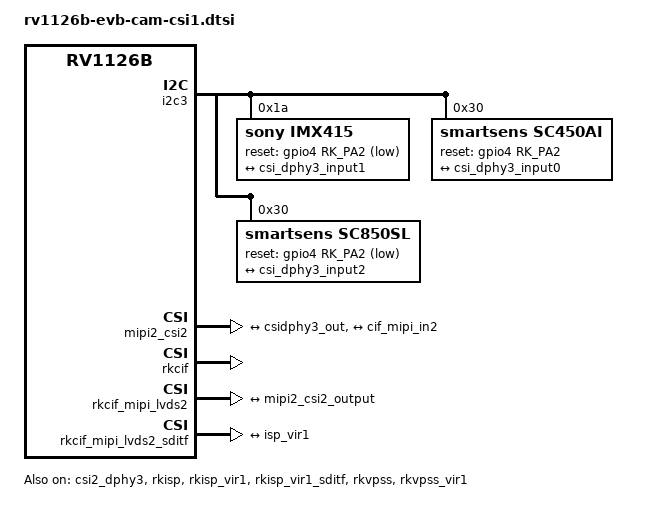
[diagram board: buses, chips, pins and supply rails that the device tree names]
// SPDX-License-Identifier: (GPL-2.0+ OR MIT)
/*
 * Copyright (c) 2025 Rockchip Electronics Co., Ltd.
 *
 */

/*
 * csi2_dphy0 -> csi0(rx0) clk0 + 4 lane
 * csi2_dphy1 -> csi0(rx0) clk0 + 2 lane 0/1
 * csi2_dphy2 -> csi0(rx0) clk1 + 2 lane 2/3
 * csi2_dphy3 -> csi1(rx1) clk0 + 4 lane
 * csi2_dphy4 -> csi1(rx1) clk0 + 2 lane 0/1
 * csi2_dphy5 -> csi1(rx1) clk1 + 2 lane 2/3
 */

&csi2_dphy3 {
	status = "okay";

	ports {
		#address-cells = <1>;
		#size-cells = <0>;
		port@0 {
			reg = <0>;
			#address-cells = <1>;
			#size-cells = <0>;

			csi_dphy3_input0: endpoint@1 {
				reg = <1>;
				remote-endpoint = <&sc450ai_out>;
				data-lanes = <1 2>;
			};

			csi_dphy3_input1: endpoint@2 {
				reg = <2>;
				remote-endpoint = <&imx415_out>;
				data-lanes = <1 2 3 4>;
			};

			csi_dphy3_input2: endpoint@3 {
				reg = <3>;
				remote-endpoint = <&sc850sl_out>;
				data-lanes = <1 2 3 4>;
			};

		};
		port@1 {
			reg = <1>;
			#address-cells = <1>;
			#size-cells = <0>;

			csidphy3_out: endpoint@0 {
				reg = <0>;
				remote-endpoint = <&mipi2_csi2_input>;
			};
		};
	};
};

&i2c3 {
	status = "okay";
	pinctrl-0 = <&i2c3m1_pins>;

	imx415: imx415@1a {
		compatible = "sony,imx415";
		reg = <0x1a>;
		clocks = <&cru CLK_MIPI2_OUT2IO>;
		clock-names = "xvclk";
		reset-gpios = <&gpio4 RK_PA2 GPIO_ACTIVE_LOW>;
		pinctrl-names = "default";
		pinctrl-0 = <&cam_clk2_pins>;
		rockchip,camera-module-index = <0>;
		rockchip,camera-module-facing = "back";
		rockchip,camera-module-name = "CMK-OT2022-PX1";
		rockchip,camera-module-lens-name = "IR0147-50IRC-8M-F20";
		port {
			imx415_out: endpoint {
				remote-endpoint = <&csi_dphy3_input1>;
				data-lanes = <1 2 3 4>;
			};
		};
	};

	sc450ai: sc450ai@30 {
		compatible = "smartsens,sc450ai";
		status = "okay";
		reg = <0x30>;
		clocks = <&cru CLK_MIPI2_OUT2IO>;
		clock-names = "xvclk";
		/* pwdn need connect to reset */
		reset-gpios = <&gpio4 RK_PA2 GPIO_ACTIVE_HIGH>;
		pinctrl-names = "default";
		pinctrl-0 = <&cam_clk2_pins>;
		rockchip,camera-module-index = <0>;
		rockchip,camera-module-facing = "back";
		rockchip,camera-module-name = "default";
		rockchip,camera-module-lens-name = "default";
		port {
			sc450ai_out: endpoint {
				remote-endpoint = <&csi_dphy3_input0>;
				data-lanes = <1 2>;
			};
		};
	};

	sc850sl: sc850sl@30 {
		compatible = "smartsens,sc850sl";
		status = "okay";
		reg = <0x30>;
		clocks = <&cru CLK_MIPI2_OUT2IO>;
		clock-names = "xvclk";
		/* pwdn need connect to reset */
		reset-gpios = <&gpio4 RK_PA2 GPIO_ACTIVE_LOW>;
		pinctrl-names = "default";
		pinctrl-0 = <&cam_clk2_pins>;
		rockchip,camera-module-index = <0>;
		rockchip,camera-module-facing = "back";
		rockchip,camera-module-name = "default";
		rockchip,camera-module-lens-name = "default";
		port {
			sc850sl_out: endpoint {
				remote-endpoint = <&csi_dphy3_input2>;
				data-lanes = <1 2 3 4>;
			};
		};
	};
};

&mipi2_csi2 {
	status = "okay";

	ports {
		#address-cells = <1>;
		#size-cells = <0>;

		port@0 {
			reg = <0>;
			#address-cells = <1>;
			#size-cells = <0>;

			mipi2_csi2_input: endpoint@1 {
				reg = <1>;
				remote-endpoint = <&csidphy3_out>;
			};
		};

		port@1 {
			reg = <1>;
			#address-cells = <1>;
			#size-cells = <0>;

			mipi2_csi2_output: endpoint@0 {
				reg = <0>;
				remote-endpoint = <&cif_mipi_in2>;
			};
		};
	};
};

&rkcif {
	status = "okay";
};

&rkcif_mipi_lvds2 {
	status = "okay";

	port {
		cif_mipi_in2: endpoint {
			remote-endpoint = <&mipi2_csi2_output>;
		};
	};
};

&rkcif_mipi_lvds2_sditf {
	status = "okay";

	port {
		mipi_lvds2_sditf: endpoint {
			remote-endpoint = <&isp_vir1>;
		};
	};
};

&rkcif_mmu {
	status = "okay";
};

&rkisp {
	status = "okay";
};

&rkisp_mmu {
	status = "okay";
};

&rkisp_vir1 {
	status = "okay";

	port {
		#address-cells = <1>;
		#size-cells = <0>;

		isp_vir1: endpoint@0 {
			reg = <0>;
			remote-endpoint = <&mipi_lvds2_sditf>;
		};
	};
};

&rkisp_vir1_sditf {
	status = "okay";
};

&rkvpss {
	status = "okay";
	dvbm = <&rkdvbm>;
};

&rkvpss_mmu {
	status = "okay";
};

&rkvpss_vir1 {
	status = "okay";
};
